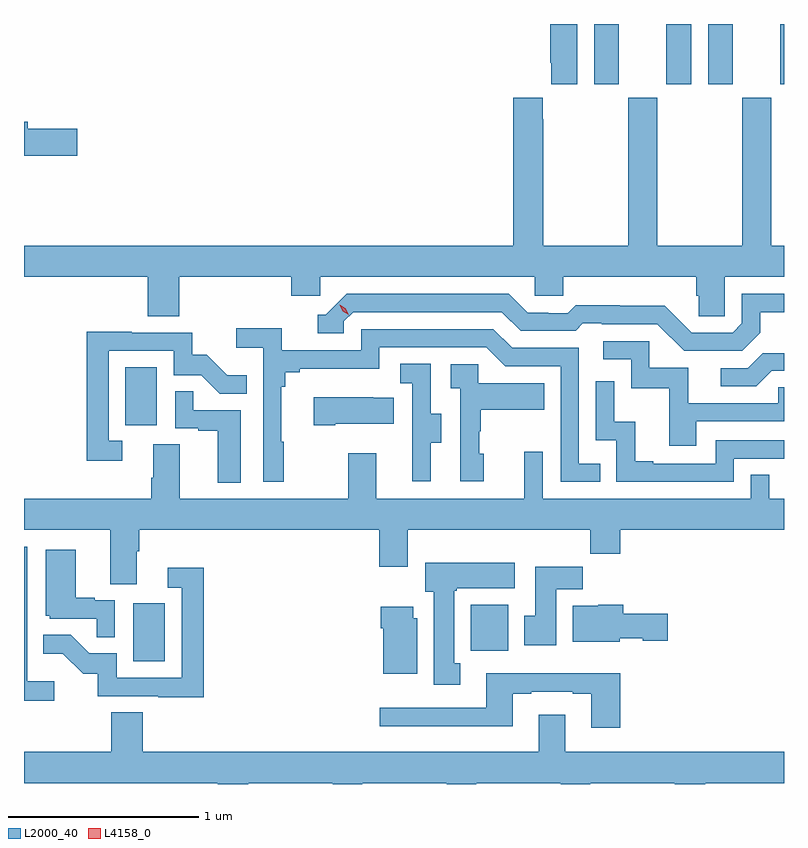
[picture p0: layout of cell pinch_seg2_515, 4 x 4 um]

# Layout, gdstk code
import gdstk
lib = gdstk.Library(unit=1e-6, precision=1e-09)
def R(c, l, rs):  # rectangles x0, y0, x1, y1
    for r in rs: c.add(gdstk.rectangle(r[:2], r[2:], *l))
def P(c, l, *ps):  # polygons
    for p in ps: c.add(gdstk.Polygon(p, *l))
L2000_40 = (2000, 40)
L4158_0 = (4158, 0)

pinch_seg2_515 = lib.new_cell('pinch_seg2_515')
R(pinch_seg2_515, L2000_40, [(986.096,597.66,986.26,597.967), (987.872,597.716,988.069,597.958), (986.054,598.902,986.218,599.209), (988.52,600.699,988.651,601.015), (988.901,600.699,989.032,601.015), (989.12,600.699,989.251,601.015), (989.501,600.699,989.52,601.015)])
P(pinch_seg2_515, L2000_40, [(988.432,601.015),(988.289,601.015),(988.289,600.811),(988.295,600.811),(988.295,600.699),(988.432,600.699)],
  [(986.336,599.684),(986.927,599.684),(986.927,599.586),(987.078,599.586),(987.078,599.684),(988.209,599.684),(988.209,599.586),(988.359,599.586),(988.359,599.684),(989.057,599.684),(989.057,599.586),(989.071,599.586),(989.071,599.476),(989.208,599.476),(989.208,599.684),(989.52,599.684),(989.52,599.848),(989.454,599.848),(989.454,600.628),(989.299,600.628),(989.299,599.848),(988.854,599.848),(988.854,600.628),(988.699,600.628),(988.699,599.848),(988.254,599.848),(988.254,600.515),(988.249,600.515),(988.249,600.628),(988.094,600.628),(988.094,599.848),(985.52,599.848),(985.52,599.684),(986.171,599.684),(986.171,599.476),(986.336,599.476)],
  [(985.801,600.464),(985.54,600.464),(985.54,600.5),(985.52,600.5),(985.52,600.322),(985.801,600.322)],
  [(989.395,599.389),(989.395,599.499),(989.52,599.499),(989.52,599.595),(989.298,599.595),(989.298,599.439),(989.25,599.391),(989.034,599.391),(988.892,599.533),(988.656,599.533),(988.656,599.536),(988.423,599.536),(988.381,599.493),(988.278,599.493),(988.278,599.496),(988.171,599.496),(988.072,599.595),(987.219,599.595),(987.108,599.484),(987.065,599.484),(987.065,599.388),(987.204,599.388),(987.204,599.451),(987.252,599.499),(988.035,599.499),(988.134,599.4),(988.423,599.4),(988.462,599.439),(988.561,599.439),(988.561,599.436),(988.854,599.436),(988.995,599.295),(989.301,599.295)],
  [(986.887,598.817),(986.875,598.817),(986.875,599.105),(986.894,599.105),(986.894,599.182),(986.971,599.182),(986.971,599.201),(987.39,599.201),(987.39,599.313),(987.954,599.313),(988.053,599.214),(988.344,599.214),(988.344,598.605),(988.553,598.605),(988.553,598.701),(988.44,598.701),(988.44,599.31),(988.09,599.31),(987.991,599.409),(987.294,599.409),(987.294,599.298),(986.876,599.298),(986.876,599.414),(986.637,599.414),(986.637,599.312),(986.778,599.312),(986.778,598.605),(986.887,598.605)],
  [(986.038,598.821),(985.965,598.821),(985.965,599.295),(986.307,599.295),(986.307,599.166),(986.452,599.166),(986.55,599.068),(986.693,599.068),(986.693,599.167),(986.589,599.167),(986.482,599.274),(986.406,599.274),(986.406,599.391),(986.087,599.391),(986.087,599.396),(985.849,599.396),(985.849,598.716),(986.038,598.716)],
  [(989.059,598.923),(989.52,598.923),(989.52,599.103),(989.491,599.103),(989.491,599.019),(989.017,599.019),(989.017,599.205),(988.812,599.205),(988.812,599.346),(988.569,599.346),(988.569,599.25),(988.716,599.25),(988.716,599.097),(988.915,599.097),(988.915,598.794),(989.059,598.794)],
  [(989.455,599.19),(989.52,599.19),(989.52,599.282),(989.408,599.282),(989.328,599.202),(989.187,599.202),(989.187,599.109),(989.374,599.109)],
  [(987.661,598.81),(987.715,598.81),(987.715,598.965),(987.66,598.965),(987.66,599.228),(987.501,599.228),(987.501,599.125),(987.564,599.125),(987.564,598.821),(987.563,598.821),(987.563,598.608),(987.661,598.608)],
  [(987.94,598.752),(987.915,598.752),(987.915,598.871),(987.925,598.871),(987.925,598.985),(988.259,598.985),(988.259,599.125),(987.912,599.125),(987.912,599.223),(987.765,599.223),(987.765,599.099),(987.816,599.099),(987.816,598.608),(987.94,598.608)],
  [(989.256,598.728),(989.52,598.728),(989.52,598.824),(989.16,598.824),(989.16,598.701),(988.831,598.701),(988.831,598.714),(988.736,598.714),(988.736,598.922),(988.626,598.922),(988.626,599.134),(988.53,599.134),(988.53,598.824),(988.638,598.824),(988.638,598.605),(989.256,598.605)],
  [(986.662,598.983),(986.411,598.983),(986.411,599.081),(986.316,599.081),(986.316,598.887),(986.437,598.887),(986.437,598.875),(986.54,598.875),(986.54,598.601),(986.662,598.601)],
  [(987.157,598.91),(987.467,598.91),(987.467,599.047),(987.359,599.047),(987.359,599.05),(987.045,599.05),(987.045,598.903),(987.157,598.903)],
  [(989.52,598.516),(989.442,598.516),(989.442,598.643),(989.346,598.643),(989.346,598.516),(988.251,598.516),(988.251,598.765),(988.154,598.765),(988.154,598.516),(987.373,598.516),(987.373,598.756),(987.226,598.756),(987.226,598.516),(986.341,598.516),(986.341,598.802),(986.201,598.802),(986.201,598.628),(986.189,598.628),(986.189,598.516),(985.52,598.516),(985.52,598.352),(985.973,598.352),(985.973,598.066),(986.113,598.066),(986.113,598.24),(986.126,598.24),(986.126,598.352),(987.389,598.352),(987.389,598.158),(987.541,598.158),(987.541,598.352),(988.501,598.352),(988.501,598.228),(988.658,598.228),(988.658,598.352),(989.52,598.352)],
  [(985.678,597.556),(985.536,597.556),(985.536,598.264),(985.52,598.264),(985.52,597.454),(985.678,597.454)],
  [(985.998,597.981),(985.892,597.981),(985.892,597.994),(985.792,597.994),(985.792,598.249),(985.634,598.249),(985.634,597.9),(985.656,597.9),(985.656,597.885),(985.903,597.885),(985.903,597.787),(985.998,597.787)],
  [(987.817,597.65),(987.784,597.65),(987.784,598.033),(987.798,598.033),(987.798,598.046),(988.102,598.046),(988.102,598.18),(987.632,598.18),(987.632,598.026),(987.677,598.026),(987.677,597.537),(987.817,597.537)],
  [(988.321,598.04),(988.46,598.04),(988.46,598.159),(988.211,598.159),(988.211,597.9),(988.154,597.9),(988.154,597.744),(988.321,597.744)],
  [(986.465,598.153),(986.277,598.153),(986.277,598.047),(986.349,598.047),(986.349,597.573),(986.007,597.573),(986.007,597.702),(985.863,597.702),(985.765,597.8),(985.621,597.8),(985.621,597.701),(985.725,597.701),(985.832,597.594),(985.909,597.594),(985.909,597.477),(986.227,597.477),(986.227,597.472),(986.465,597.472)],
  [(988.656,597.782),(988.776,597.782),(988.776,597.77),(988.909,597.77),(988.909,597.912),(988.673,597.912),(988.673,597.958),(988.542,597.958),(988.542,597.952),(988.409,597.952),(988.409,597.764),(988.656,597.764)],
  [(987.589,597.888),(987.568,597.888),(987.568,597.949),(987.398,597.949),(987.398,597.836),(987.41,597.836),(987.41,597.596),(987.589,597.596)],
  [(988.658,597.598),(987.953,597.598),(987.953,597.417),(987.393,597.417),(987.393,597.32),(988.093,597.32),(988.093,597.489),(988.189,597.489),(988.189,597.501),(988.409,597.501),(988.409,597.489),(988.505,597.489),(988.505,597.312),(988.658,597.312)],
  [(986.7,597.02),(987.145,597.02),(987.145,597.015),(987.3,597.015),(987.3,597.02),(987.745,597.02),(987.745,597.015),(987.9,597.015),(987.9,597.02),(988.345,597.02),(988.345,597.015),(988.5,597.015),(988.5,597.02),(988.945,597.02),(988.945,597.015),(989.105,597.015),(989.105,597.02),(989.52,597.02),(989.52,597.184),(988.369,597.184),(988.369,597.379),(988.229,597.379),(988.229,597.184),(986.144,597.184),(986.144,597.392),(985.979,597.392),(985.979,597.184),(985.52,597.184),(985.52,597.02),(986.54,597.02),(986.54,597.015),(986.7,597.015)])
P(pinch_seg2_515, L4158_0, [(987.228,599.485),(987.197,599.504),(987.181,599.537),(987.181,599.537),(987.181,599.537),(987.212,599.518),(987.228,599.485),(987.228,599.485)])

lib.write_gds('pinch_seg2_515.gds')
